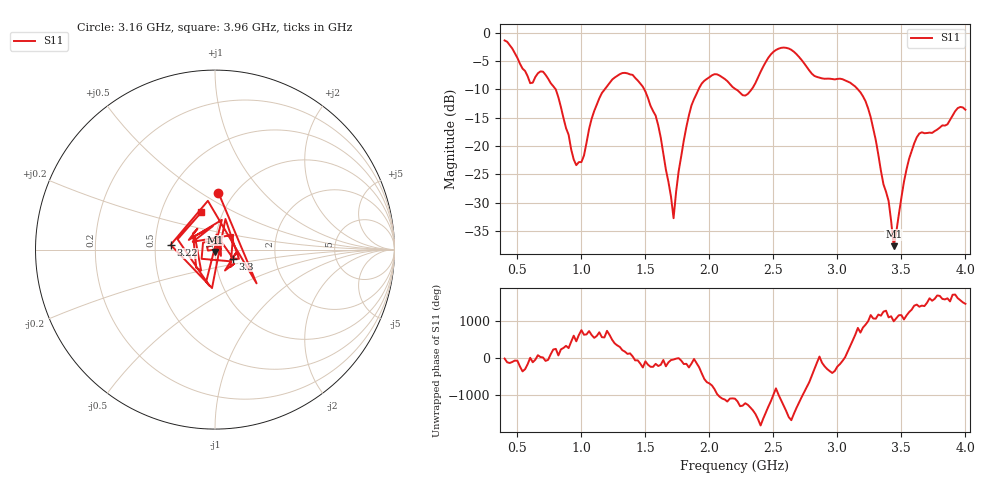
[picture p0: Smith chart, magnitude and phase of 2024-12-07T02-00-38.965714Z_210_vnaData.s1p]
!Created with skrf (http://scikit-rf.org).
# Hz S RI R 50.0
!freq ReS11 ImS11
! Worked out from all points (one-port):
!   181 points, 400 MHz to 4 GHz, reference 50 ohm
!   lowest |S11| = -37.7 dB at 3.44 GHz (marker M1), VSWR 1.03, Z = 49.8 - j1.3 ohm
!   |S11| at or under -10 dB: 799.6 MHz to 1.182 GHz (382.2 MHz wide, 38.6 % of centre); 1.491 GHz to 1.915 GHz (424.1 MHz wide, 24.9 % of centre); 3.16 GHz to end of sweep (the widest 3 of 4)
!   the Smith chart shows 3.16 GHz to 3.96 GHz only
!   S11 on the Smith chart (normalised r, x): 3.16 GHz: 0.85, +0.60; 3.22 GHz: 0.60, +0.03; 3.3 GHz: 1.22, -0.12; 3.96 GHz: 0.79, +0.35
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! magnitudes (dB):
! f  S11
! 400 MHz  -1.4
! 600 MHz  -8.9
! 720 MHz  -7.4
! 860 MHz  -15.1
! 940 MHz  -22.4
! 1 GHz  -22.8
! 1.14 GHz  -11.6
! 1.3 GHz  -7.3
! 1.44 GHz  -8.4
! 1.58 GHz  -14.6
! 1.72 GHz  -32.7
! 1.76 GHz  -24.4
! 1.86 GHz  -12.8
! 1.94 GHz  -9.0
! 2.2 GHz  -9.9
! 2.28 GHz  -11.1
! 2.5 GHz  -3.4
! 2.66 GHz  -3.4
! 3.1 GHz  -8.8
! 3.16 GHz  -10.0
! 3.22 GHz  -12.1
! 3.3 GHz  -19.0
! 3.4 GHz  -29.7
! 3.44 GHz  -37.7
! 3.56 GHz  -22.2
! 3.64 GHz  -17.8
! 3.96 GHz  -13.1
! 4 GHz  -13.6
